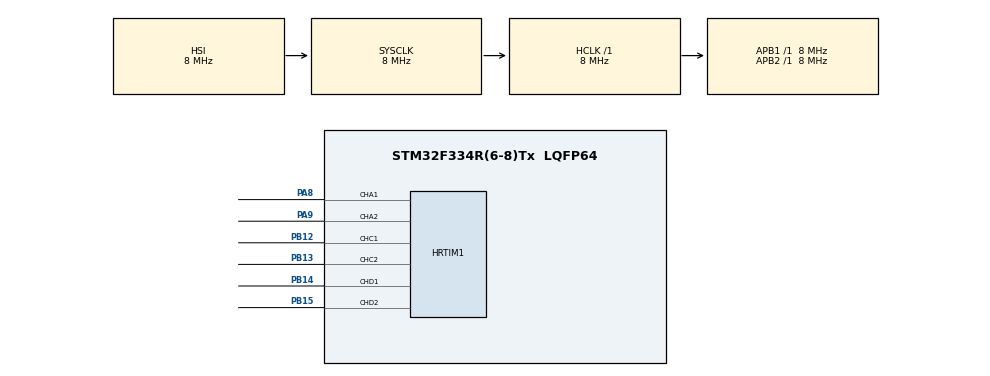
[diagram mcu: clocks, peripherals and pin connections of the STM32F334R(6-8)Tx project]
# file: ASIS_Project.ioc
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HRTIM1.CompareUnit1-Output_TA1TA2=HRTIM_COMPAREUNIT_1
HRTIM1.CompareUnit1-Output_TC1TC2=HRTIM_COMPAREUNIT_1
HRTIM1.CompareUnit1-Output_TD1TD2=HRTIM_COMPAREUNIT_1
HRTIM1.CompareUnit2-Output_TA1TA2=HRTIM_COMPAREUNIT_2
HRTIM1.CompareUnit2-Output_TC1TC2=HRTIM_COMPAREUNIT_2
HRTIM1.CompareUnit2-Output_TD1TD2=HRTIM_COMPAREUNIT_2
HRTIM1.CompareValue1-Output_TA1TA2=0xFFDF 
HRTIM1.CompareValue1-Output_TC1TC2=0xFFFD 
HRTIM1.CompareValue1-Output_TD1TD2=0xFFFD 
HRTIM1.Deadtimeconfig-Output_TA1TA2=__NULL
HRTIM1.NumberResetSource1-Output_TA1TA2=1
HRTIM1.NumberResetSource1-Output_TC1TC2=1
HRTIM1.NumberResetSource1-Output_TD1TD2=1
HRTIM1.NumberResetSource2_TA=1
HRTIM1.NumberResetSource2_TC=1
HRTIM1.NumberResetSource2_TD=1
HRTIM1.NumberSetSource1-Output_TA1TA2=1
HRTIM1.NumberSetSource1-Output_TC1TC2=1
HRTIM1.NumberSetSource1-Output_TD1TD2=1
HRTIM1.NumberSetSource2_TA=1
HRTIM1.NumberSetSource2_TC=1
HRTIM1.NumberSetSource2_TD=1
HRTIM1.Periode_TA=periode_ayar
HRTIM1.Periode_TC=periode_ayar
HRTIM1.Periode_TD=periode_ayar
HRTIM1.Polarity2-Output_TA1TA2=HRTIM_OUTPUTPOLARITY_HIGH
HRTIM1.PrescalerRatio_TA=HRTIM_PRESCALERRATIO_DIV1
HRTIM1.ResetOutput1_Source1-Output_TA1TA2=HRTIM_OUTPUTRESET_TIMCMP1
HRTIM1.ResetOutput1_Source1-Output_TC1TC2=HRTIM_OUTPUTRESET_TIMCMP1
HRTIM1.ResetOutput1_Source1-Output_TD1TD2=HRTIM_OUTPUTRESET_TIMCMP1
HRTIM1.ResetOutput2_Source1-Output_TA1TA2=HRTIM_OUTPUTRESET_TIMPER
HRTIM1.ResetOutput2_Source1-Output_TC1TC2=HRTIM_OUTPUTRESET_TIMPER
HRTIM1.ResetOutput2_Source1-Output_TD1TD2=HRTIM_OUTPUTRESET_TIMPER
HRTIM1.SetOutput1_Source1-Output_TA1TA2=HRTIM_OUTPUTSET_TIMPER
HRTIM1.SetOutput1_Source1-Output_TC1TC2=HRTIM_OUTPUTSET_TIMPER
HRTIM1.SetOutput1_Source1-Output_TD1TD2=HRTIM_OUTPUTSET_TIMPER
HRTIM1.SetOutput2_Source1-Output_TA1TA2=HRTIM_OUTPUTSET_TIMCMP2
HRTIM1.SetOutput2_Source1-Output_TC1TC2=HRTIM_OUTPUTSET_TIMCMP2
HRTIM1.SetOutput2_Source1-Output_TD1TD2=HRTIM_OUTPUTSET_TIMCMP2
Mcu.Family=STM32F3
Mcu.Name=STM32F334R(6-8)Tx
Mcu.Package=LQFP64
Mcu.UserConstants=periode_ayar,0xFFFD
NVIC.PriorityGroup=NVIC_PRIORITYGROUP_4
PA8.Mode=Output_TA1TA2
PA8.Signal=HRTIM1_CHA1
PA9.Mode=Output_TA1TA2
PA9.Signal=HRTIM1_CHA2
PB12.Mode=Output_TC1TC2
PB12.Signal=HRTIM1_CHC1
PB13.Mode=Output_TC1TC2
PB13.Signal=HRTIM1_CHC2
PB14.Mode=Output_TD1TD2
PB14.Signal=HRTIM1_CHD1
PB15.Mode=Output_TD1TD2
PB15.Signal=HRTIM1_CHD2
ProjectManager.HeapSize=0x200
ProjectManager.StackSize=0x400
ProjectManager.TargetToolchain=STM32CubeIDE
RCC.AHBFreq_Value=8000000
RCC.APB1Freq_Value=8000000
RCC.APB2Freq_Value=8000000
RCC.CortexFreq_Value=8000000
RCC.HSE_VALUE=8000000
RCC.HSI_VALUE=8000000
RCC.LSE_VALUE=32768
RCC.SYSCLKFreq_VALUE=8000000
board=custom

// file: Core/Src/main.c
/* USER CODE BEGIN Header */
/**
  ******************************************************************************
  * @file           : main.c
  * @brief          : Main program body
  ******************************************************************************
  * @attention
  *
  * Copyright (c) 2025 STMicroelectronics.
  * All rights reserved.
  *
  * This software is licensed under terms that can be found in the LICENSE file
  * in the root directory of this software component.
  * If no LICENSE file comes with this software, it is provided AS-IS.
  *
  ******************************************************************************
  */
/* USER CODE END Header */
#include "main.h"

HRTIM_HandleTypeDef hhrtim1;

/* USER CODE BEGIN PV */
volatile float TIM_DUTY_CYCLE = 0.5f;

uint16_t periode_ayar_1 = 0xFFFD;

uint8_t step=0;

/* USER CODE END PV */

void SystemClock_Config(void);
static void MX_GPIO_Init(void);
static void MX_HRTIM1_Init(void);

int main(void)
{

  /* MCU Configuration--------------------------------------------------------*/

  /* Reset of all peripherals, Initializes the Flash interface and the Systick. */
  HAL_Init();

  /* Configure the system clock */
  SystemClock_Config();

  /* Initialize all configured peripherals */
  MX_GPIO_Init();
  MX_HRTIM1_Init();
  /* USER CODE BEGIN 2 */
  HAL_HRTIM_WaveformCounterStart(&hhrtim1, HRTIM_TIMERID_TIMER_A);
  HAL_HRTIM_WaveformCounterStart(&hhrtim1, HRTIM_TIMERID_TIMER_C);
  HAL_HRTIM_WaveformCounterStart(&hhrtim1, HRTIM_TIMERID_TIMER_D);

  /* USER CODE END 2 */

  /* Infinite loop */
  while (1)
  {

    /* USER CODE BEGIN 3 */

	  HRTIM_CompareCfgTypeDef pCompareCfg;
	  HRTIM_CompareCfgTypeDef pCompareCfg1;
	  //HRTIM_TimeBaseCfgTypeDef pTimeBaseCfg;

	  //pTimeBaseCfg.Period = periode_ayar_1;

	  pCompareCfg.CompareValue = periode_ayar_1* TIM_DUTY_CYCLE;
	  pCompareCfg1.CompareValue = periode_ayar_1 * (1 - TIM_DUTY_CYCLE);

	  HAL_HRTIM_WaveformCompareConfig(&hhrtim1, HRTIM_TIMERINDEX_TIMER_A, HRTIM_COMPAREUNIT_1, &pCompareCfg);
	  HAL_HRTIM_WaveformCompareConfig(&hhrtim1, HRTIM_TIMERINDEX_TIMER_C, HRTIM_COMPAREUNIT_1, &pCompareCfg);
	  HAL_HRTIM_WaveformCompareConfig(&hhrtim1, HRTIM_TIMERINDEX_TIMER_D, HRTIM_COMPAREUNIT_1, &pCompareCfg);
	  HAL_HRTIM_WaveformCompareConfig(&hhrtim1, HRTIM_TIMERINDEX_TIMER_A, HRTIM_COMPAREUNIT_2, &pCompareCfg1);
	  HAL_HRTIM_WaveformCompareConfig(&hhrtim1, HRTIM_TIMERINDEX_TIMER_C, HRTIM_COMPAREUNIT_2, &pCompareCfg1);
	  HAL_HRTIM_WaveformCompareConfig(&hhrtim1, HRTIM_TIMERINDEX_TIMER_D, HRTIM_COMPAREUNIT_2, &pCompareCfg1);

	  switch(step) {
	    case 0:

	      HAL_HRTIM_WaveformOutputStop(&hhrtim1, HRTIM_OUTPUT_TA2);
	      HAL_HRTIM_WaveformOutputStop(&hhrtim1, HRTIM_OUTPUT_TC1);
	      HAL_HRTIM_WaveformOutputStop(&hhrtim1, HRTIM_OUTPUT_TD1);
	      HAL_HRTIM_WaveformOutputStop(&hhrtim1, HRTIM_OUTPUT_TD2);

	      HAL_HRTIM_WaveformOutputStart(&hhrtim1, HRTIM_OUTPUT_TA1);
	      HAL_HRTIM_WaveformOutputStart(&hhrtim1, HRTIM_OUTPUT_TC2);
	      break;

	    case 1:

	      HAL_HRTIM_WaveformOutputStop(&hhrtim1, HRTIM_OUTPUT_TA2);
	      HAL_HRTIM_WaveformOutputStop(&hhrtim1, HRTIM_OUTPUT_TC1);
	      HAL_HRTIM_WaveformOutputStop(&hhrtim1, HRTIM_OUTPUT_TC2);
	      HAL_HRTIM_WaveformOutputStop(&hhrtim1, HRTIM_OUTPUT_TD1);

	      HAL_HRTIM_WaveformOutputStart(&hhrtim1, HRTIM_OUTPUT_TA1);
	      HAL_HRTIM_WaveformOutputStart(&hhrtim1, HRTIM_OUTPUT_TD2);
	      break;

	    case 2:
	      HAL_HRTIM_WaveformOutputStop(&hhrtim1, HRTIM_OUTPUT_TA1);
	      HAL_HRTIM_WaveformOutputStop(&hhrtim1, HRTIM_OUTPUT_TA2);
   		  HAL_HRTIM_WaveformOutputStop(&hhrtim1, HRTIM_OUTPUT_TC2);
   		  HAL_HRTIM_WaveformOutputStop(&hhrtim1, HRTIM_OUTPUT_TD1);

	      HAL_HRTIM_WaveformOutputStart(&hhrtim1, HRTIM_OUTPUT_TC1);
	      HAL_HRTIM_WaveformOutputStart(&hhrtim1, HRTIM_OUTPUT_TD2);
	      break;

	    case 3:
	      HAL_HRTIM_WaveformOutputStop(&hhrtim1, HRTIM_OUTPUT_TA1);
	      HAL_HRTIM_WaveformOutputStop(&hhrtim1, HRTIM_OUTPUT_TC2);
	      HAL_HRTIM_WaveformOutputStop(&hhrtim1, HRTIM_OUTPUT_TD1);
	      HAL_HRTIM_WaveformOutputStop(&hhrtim1, HRTIM_OUTPUT_TD2);

	      HAL_HRTIM_WaveformOutputStart(&hhrtim1, HRTIM_OUTPUT_TC1);
	      HAL_HRTIM_WaveformOutputStart(&hhrtim1, HRTIM_OUTPUT_TA2);
	      break;

	    case 4:
	      HAL_HRTIM_WaveformOutputStop(&hhrtim1, HRTIM_OUTPUT_TA1);
   		  HAL_HRTIM_WaveformOutputStop(&hhrtim1, HRTIM_OUTPUT_TC1);
   		  HAL_HRTIM_WaveformOutputStop(&hhrtim1, HRTIM_OUTPUT_TC2);
   		  HAL_HRTIM_WaveformOutputStop(&hhrtim1, HRTIM_OUTPUT_TD2);

	      HAL_HRTIM_WaveformOutputStart(&hhrtim1, HRTIM_OUTPUT_TD1);
	      HAL_HRTIM_WaveformOutputStart(&hhrtim1, HRTIM_OUTPUT_TA2);
	      break;

	    case 5:
    	  HAL_HRTIM_WaveformOutputStop(&hhrtim1, HRTIM_OUTPUT_TA1);
   		  HAL_HRTIM_WaveformOutputStop(&hhrtim1, HRTIM_OUTPUT_TA2);
   		  HAL_HRTIM_WaveformOutputStop(&hhrtim1, HRTIM_OUTPUT_TC1);
   		  HAL_HRTIM_WaveformOutputStop(&hhrtim1, HRTIM_OUTPUT_TD2);

	      HAL_HRTIM_WaveformOutputStart(&hhrtim1, HRTIM_OUTPUT_TD1);
	      HAL_HRTIM_WaveformOutputStart(&hhrtim1, HRTIM_OUTPUT_TC2);
	      break;
	  }
	  HAL_Delay(100);
	  step = (step+1) % 6;
  }

  /* USER CODE END 3 */
}

void SystemClock_Config(void)
{
  RCC_OscInitTypeDef RCC_OscInitStruct = {0};
  RCC_ClkInitTypeDef RCC_ClkInitStruct = {0};
  RCC_PeriphCLKInitTypeDef PeriphClkInit = {0};

  /** Initializes the RCC Oscillators according to the specified parameters
  * in the RCC_OscInitTypeDef structure.
  */
  RCC_OscInitStruct.OscillatorType = RCC_OSCILLATORTYPE_HSI;
  RCC_OscInitStruct.HSIState = RCC_HSI_ON;
  RCC_OscInitStruct.HSICalibrationValue = RCC_HSICALIBRATION_DEFAULT;
  RCC_OscInitStruct.PLL.PLLState = RCC_PLL_NONE;
  if (HAL_RCC_OscConfig(&RCC_OscInitStruct) != HAL_OK)
  {
    Error_Handler();
  }

  /** Initializes the CPU, AHB and APB buses clocks
  */
  RCC_ClkInitStruct.ClockType = RCC_CLOCKTYPE_HCLK|RCC_CLOCKTYPE_SYSCLK
                              |RCC_CLOCKTYPE_PCLK1|RCC_CLOCKTYPE_PCLK2;
  RCC_ClkInitStruct.SYSCLKSource = RCC_SYSCLKSOURCE_HSI;
  RCC_ClkInitStruct.AHBCLKDivider = RCC_SYSCLK_DIV1;
  RCC_ClkInitStruct.APB1CLKDivider = RCC_HCLK_DIV1;
  RCC_ClkInitStruct.APB2CLKDivider = RCC_HCLK_DIV1;

  if (HAL_RCC_ClockConfig(&RCC_ClkInitStruct, FLASH_LATENCY_0) != HAL_OK)
  {
    Error_Handler();
  }
  PeriphClkInit.PeriphClockSelection = RCC_PERIPHCLK_HRTIM1;
  PeriphClkInit.Hrtim1ClockSelection = RCC_HRTIM1CLK_HCLK;
  if (HAL_RCCEx_PeriphCLKConfig(&PeriphClkInit) != HAL_OK)
  {
    Error_Handler();
  }
}

static void MX_HRTIM1_Init(void)
{

  HRTIM_TimeBaseCfgTypeDef pTimeBaseCfg = {0};
  HRTIM_TimerCfgTypeDef pTimerCfg = {0};
  HRTIM_CompareCfgTypeDef pCompareCfg = {0};
  HRTIM_OutputCfgTypeDef pOutputCfg = {0};

  hhrtim1.Instance = HRTIM1;
  hhrtim1.Init.HRTIMInterruptResquests = HRTIM_IT_NONE;
  hhrtim1.Init.SyncOptions = HRTIM_SYNCOPTION_NONE;
  if (HAL_HRTIM_Init(&hhrtim1) != HAL_OK)
  {
    Error_Handler();
  }
  pTimeBaseCfg.Period = periode_ayar_1;
  pTimeBaseCfg.RepetitionCounter = 0x00;
  pTimeBaseCfg.PrescalerRatio = HRTIM_PRESCALERRATIO_DIV1;
  pTimeBaseCfg.Mode = HRTIM_MODE_CONTINUOUS;
  if (HAL_HRTIM_TimeBaseConfig(&hhrtim1, HRTIM_TIMERINDEX_TIMER_A, &pTimeBaseCfg) != HAL_OK)
  {
    Error_Handler();
  }
  pTimerCfg.InterruptRequests = HRTIM_TIM_IT_NONE;
  pTimerCfg.DMARequests = HRTIM_TIM_DMA_NONE;
  pTimerCfg.DMASrcAddress = 0x0000;
  pTimerCfg.DMADstAddress = 0x0000;
  pTimerCfg.DMASize = 0x1;
  pTimerCfg.HalfModeEnable = HRTIM_HALFMODE_DISABLED;
  pTimerCfg.StartOnSync = HRTIM_SYNCSTART_DISABLED;
  pTimerCfg.ResetOnSync = HRTIM_SYNCRESET_DISABLED;
  pTimerCfg.DACSynchro = HRTIM_DACSYNC_NONE;
  pTimerCfg.PreloadEnable = HRTIM_PRELOAD_DISABLED;
  pTimerCfg.UpdateGating = HRTIM_UPDATEGATING_INDEPENDENT;
  pTimerCfg.BurstMode = HRTIM_TIMERBURSTMODE_MAINTAINCLOCK;
  pTimerCfg.RepetitionUpdate = HRTIM_UPDATEONREPETITION_DISABLED;
  pTimerCfg.PushPull = HRTIM_TIMPUSHPULLMODE_DISABLED;
  pTimerCfg.FaultEnable = HRTIM_TIMFAULTENABLE_NONE;
  pTimerCfg.FaultLock = HRTIM_TIMFAULTLOCK_READWRITE;
  pTimerCfg.DeadTimeInsertion = HRTIM_TIMDEADTIMEINSERTION_DISABLED;
  pTimerCfg.DelayedProtectionMode = HRTIM_TIMER_A_B_C_DELAYEDPROTECTION_DISABLED;
  pTimerCfg.UpdateTrigger = HRTIM_TIMUPDATETRIGGER_NONE;
  pTimerCfg.ResetTrigger = HRTIM_TIMRESETTRIGGER_NONE;
  pTimerCfg.ResetUpdate = HRTIM_TIMUPDATEONRESET_DISABLED;
  if (HAL_HRTIM_WaveformTimerConfig(&hhrtim1, HRTIM_TIMERINDEX_TIMER_A, &pTimerCfg) != HAL_OK)
  {
    Error_Handler();
  }
  if (HAL_HRTIM_WaveformTimerConfig(&hhrtim1, HRTIM_TIMERINDEX_TIMER_C, &pTimerCfg) != HAL_OK)
  {
    Error_Handler();
  }
  pTimerCfg.DelayedProtectionMode = HRTIM_TIMER_D_E_DELAYEDPROTECTION_DISABLED;
  if (HAL_HRTIM_WaveformTimerConfig(&hhrtim1, HRTIM_TIMERINDEX_TIMER_D, &pTimerCfg) != HAL_OK)
  {
    Error_Handler();
  }
  pCompareCfg.CompareValue = 0xFFDF ;
  if (HAL_HRTIM_WaveformCompareConfig(&hhrtim1, HRTIM_TIMERINDEX_TIMER_A, HRTIM_COMPAREUNIT_1, &pCompareCfg) != HAL_OK)
  {
    Error_Handler();
  }
  pCompareCfg.CompareValue = 0xFFFD;
  pCompareCfg.AutoDelayedMode = HRTIM_AUTODELAYEDMODE_REGULAR;
  pCompareCfg.AutoDelayedTimeout = 0x0000;

  if (HAL_HRTIM_WaveformCompareConfig(&hhrtim1, HRTIM_TIMERINDEX_TIMER_A, HRTIM_COMPAREUNIT_2, &pCompareCfg) != HAL_OK)
  {
    Error_Handler();
  }

  if (HAL_HRTIM_WaveformCompareConfig(&hhrtim1, HRTIM_TIMERINDEX_TIMER_C, HRTIM_COMPAREUNIT_2, &pCompareCfg) != HAL_OK)
  {
    Error_Handler();
  }

  if (HAL_HRTIM_WaveformCompareConfig(&hhrtim1, HRTIM_TIMERINDEX_TIMER_D, HRTIM_COMPAREUNIT_2, &pCompareCfg) != HAL_OK)
  {
    Error_Handler();
  }
  pOutputCfg.Polarity = HRTIM_OUTPUTPOLARITY_HIGH;
  pOutputCfg.SetSource = HRTIM_OUTPUTSET_TIMPER;
  pOutputCfg.ResetSource = HRTIM_OUTPUTRESET_TIMCMP1;
  pOutputCfg.IdleMode = HRTIM_OUTPUTIDLEMODE_NONE;
  pOutputCfg.IdleLevel = HRTIM_OUTPUTIDLELEVEL_INACTIVE;
  pOutputCfg.FaultLevel = HRTIM_OUTPUTFAULTLEVEL_NONE;
  pOutputCfg.ChopperModeEnable = HRTIM_OUTPUTCHOPPERMODE_DISABLED;
  pOutputCfg.BurstModeEntryDelayed = HRTIM_OUTPUTBURSTMODEENTRY_REGULAR;
  if (HAL_HRTIM_WaveformOutputConfig(&hhrtim1, HRTIM_TIMERINDEX_TIMER_A, HRTIM_OUTPUT_TA1, &pOutputCfg) != HAL_OK)
  {
    Error_Handler();
  }
  if (HAL_HRTIM_WaveformOutputConfig(&hhrtim1, HRTIM_TIMERINDEX_TIMER_C, HRTIM_OUTPUT_TC1, &pOutputCfg) != HAL_OK)
  {
    Error_Handler();
  }
  if (HAL_HRTIM_WaveformOutputConfig(&hhrtim1, HRTIM_TIMERINDEX_TIMER_D, HRTIM_OUTPUT_TD1, &pOutputCfg) != HAL_OK)
  {
    Error_Handler();
  }
  pOutputCfg.SetSource = HRTIM_OUTPUTSET_TIMCMP2;
  pOutputCfg.ResetSource = HRTIM_OUTPUTRESET_TIMPER;
  if (HAL_HRTIM_WaveformOutputConfig(&hhrtim1, HRTIM_TIMERINDEX_TIMER_A, HRTIM_OUTPUT_TA2, &pOutputCfg) != HAL_OK)
  {
    Error_Handler();
  }
  if (HAL_HRTIM_WaveformOutputConfig(&hhrtim1, HRTIM_TIMERINDEX_TIMER_C, HRTIM_OUTPUT_TC2, &pOutputCfg) != HAL_OK)
  {
    Error_Handler();
  }
  if (HAL_HRTIM_WaveformOutputConfig(&hhrtim1, HRTIM_TIMERINDEX_TIMER_D, HRTIM_OUTPUT_TD2, &pOutputCfg) != HAL_OK)
  {
    Error_Handler();
  }
  if (HAL_HRTIM_TimeBaseConfig(&hhrtim1, HRTIM_TIMERINDEX_TIMER_C, &pTimeBaseCfg) != HAL_OK)
  {
    Error_Handler();
  }
  pCompareCfg.CompareValue = 0xFFFD ;
  if (HAL_HRTIM_WaveformCompareConfig(&hhrtim1, HRTIM_TIMERINDEX_TIMER_C, HRTIM_COMPAREUNIT_1, &pCompareCfg) != HAL_OK)
  {
    Error_Handler();
  }
  if (HAL_HRTIM_TimeBaseConfig(&hhrtim1, HRTIM_TIMERINDEX_TIMER_D, &pTimeBaseCfg) != HAL_OK)
  {
    Error_Handler();
  }
  if (HAL_HRTIM_WaveformCompareConfig(&hhrtim1, HRTIM_TIMERINDEX_TIMER_D, HRTIM_COMPAREUNIT_1, &pCompareCfg) != HAL_OK)
  {
    Error_Handler();
  }
  HAL_HRTIM_MspPostInit(&hhrtim1);

}

static void MX_GPIO_Init(void)
{

  /* GPIO Ports Clock Enable */
  __HAL_RCC_GPIOB_CLK_ENABLE();
  __HAL_RCC_GPIOA_CLK_ENABLE();

}

void Error_Handler(void)
{
  __disable_irq();
  while (1)
  {
  }
}
